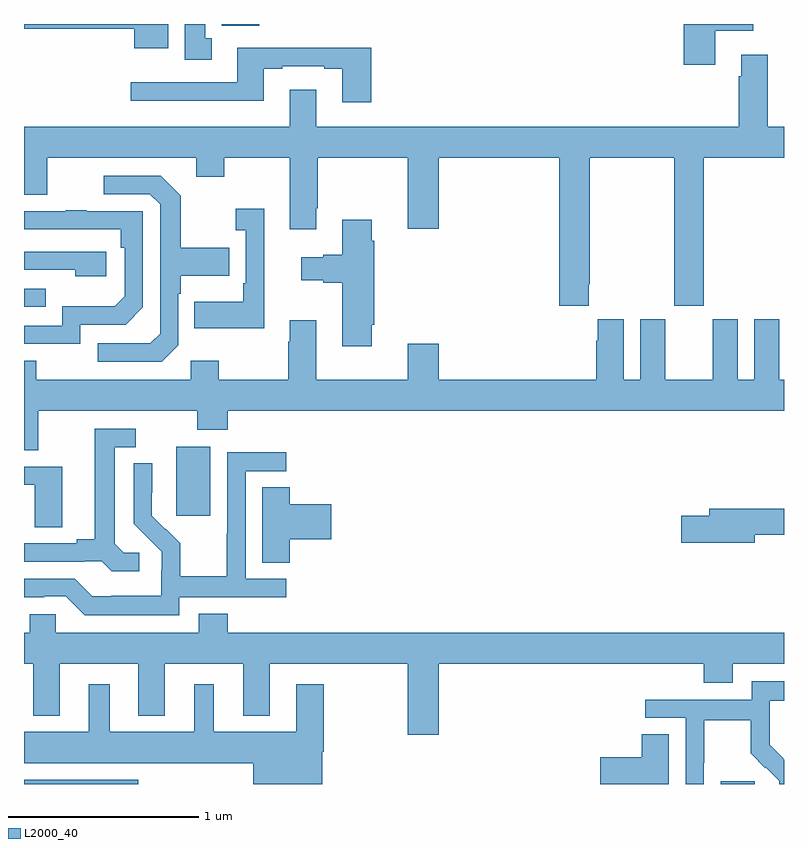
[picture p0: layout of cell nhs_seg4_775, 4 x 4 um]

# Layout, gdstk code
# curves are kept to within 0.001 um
import gdstk
lib = gdstk.Library(unit=1e-6, precision=1e-09)
def R(c, l, rs):  # rectangles x0, y0, x1, y1
    for r in rs: c.add(gdstk.rectangle(r[:2], r[2:], *l))
def P(c, l, *ps):  # polygons
    for p in ps: c.add(gdstk.Polygon(p, *l))
L2000_40 = (2000, 40)

nhs_seg4_775 = lib.new_cell('nhs_seg4_775')
R(nhs_seg4_775, L2000_40, [(151,750.9,151.6,750.922), (154.667,750.9,154.846,750.915), (151.802,752.313,151.981,752.674), (151,753.411,151.115,753.507), (152.042,754.892,152.239,754.9)])
P(nhs_seg4_775, L2000_40, [(154.639,754.865),(154.837,754.865),(154.837,754.9),(154.472,754.9),(154.472,754.686),(154.639,754.686)],
  [(151.759,754.9),(151,754.9),(151,754.876),(151.58,754.876),(151.58,754.772),(151.759,754.772)],
  [(151.987,754.826),(151.954,754.826),(151.954,754.9),(151.847,754.9),(151.847,754.713),(151.987,754.713)],
  [(152.828,754.774),(152.123,754.774),(152.123,754.593),(151.563,754.593),(151.563,754.496),(152.263,754.496),(152.263,754.665),(152.359,754.665),(152.359,754.677),(152.579,754.677),(152.579,754.665),(152.675,754.665),(152.675,754.488),(152.828,754.488)],
  [(153.973,753.529),(153.978,753.529),(153.978,754.196),(154.423,754.196),(154.423,753.417),(154.578,753.417),(154.578,754.196),(155,754.196),(155,754.36),(154.915,754.36),(154.915,754.738),(154.775,754.738),(154.775,754.625),(154.763,754.625),(154.763,754.36),(152.539,754.36),(152.539,754.555),(152.399,754.555),(152.399,754.36),(151,754.36),(151,754.002),(151.123,754.002),(151.123,754.196),(151.907,754.196),(151.907,754.097),(152.055,754.097),(152.055,754.196),(152.399,754.196),(152.399,753.819),(152.539,753.819),(152.539,753.931),(152.547,753.931),(152.547,754.196),(153.02,754.196),(153.02,753.822),(153.184,753.822),(153.184,754.196),(153.818,754.196),(153.818,753.417),(153.973,753.417)],
  [(151.812,753.21),(151.812,753.479),(151.825,753.479),(151.825,753.575),(152.081,753.575),(152.081,753.723),(151.825,753.723),(151.825,753.995),(151.719,754.101),(151.419,754.101),(151.419,754.005),(151.662,754.005),(151.716,753.951),(151.716,753.27),(151.665,753.219),(151.389,753.219),(151.389,753.123),(151.725,753.123)],
  [(152.264,753.928),(152.115,753.928),(152.115,753.815),(152.166,753.815),(152.166,753.535),(152.154,753.535),(152.154,753.439),(151.897,753.439),(151.897,753.299),(152.264,753.299)],
  [(151.296,753.318),(151.536,753.318),(151.626,753.408),(151.626,753.915),(151.331,753.915),(151.331,753.92),(151.219,753.92),(151.219,753.915),(151,753.915),(151,753.819),(151.51,753.819),(151.51,753.722),(151.53,753.722),(151.53,753.468),(151.477,753.415),(151.2,753.415),(151.2,753.312),(151,753.312),(151,753.216),(151.296,753.216)],
  [(152.83,753.316),(152.843,753.316),(152.843,753.758),(152.83,753.758),(152.83,753.871),(152.675,753.871),(152.675,753.686),(152.576,753.686),(152.576,753.673),(152.46,753.673),(152.46,753.551),(152.576,753.551),(152.576,753.539),(152.675,753.539),(152.675,753.204),(152.83,753.204)],
  [(151.432,753.702),(151,753.702),(151,753.606),(151.271,753.606),(151.271,753.572),(151.432,753.572)],
  [(151.075,752.864),(151.912,752.864),(151.912,752.765),(152.072,752.765),(152.072,752.864),(155,752.864),(155,753.028),(154.975,753.028),(154.975,753.346),(154.844,753.346),(154.844,753.028),(154.756,753.028),(154.756,753.346),(154.625,753.346),(154.625,753.028),(154.375,753.028),(154.375,753.346),(154.244,753.346),(154.244,753.028),(154.156,753.028),(154.156,753.346),(154.019,753.346),(154.019,753.233),(154.013,753.233),(154.013,753.028),(153.184,753.028),(153.184,753.217),(153.02,753.217),(153.02,753.028),(152.539,753.028),(152.539,753.34),(152.399,753.34),(152.399,753.227),(152.392,753.227),(152.392,753.028),(152.025,753.028),(152.025,753.127),(151.878,753.127),(151.878,753.028),(151.065,753.028),(151.065,753.127),(151,753.127),(151,752.656),(151.075,752.656)],
  [(151.606,752.118),(151.524,752.118),(151.477,752.165),(151.477,752.673),(151.588,752.673),(151.588,752.769),(151.373,752.769),(151.373,752.189),(151.277,752.189),(151.277,752.166),(151,752.166),(151,752.07),(151.316,752.07),(151.316,752.073),(151.41,752.073),(151.462,752.021),(151.606,752.021)],
  [(151.818,751.884),(152.38,751.884),(152.38,751.98),(152.166,751.98),(152.166,752.547),(152.38,752.547),(152.38,752.646),(152.07,752.646),(152.07,752.216),(152.068,752.216),(152.068,751.993),(151.823,751.993),(151.823,752.167),(151.746,752.244),(151.743,752.241),(151.673,752.312),(151.674,752.588),(151.578,752.588),(151.578,752.27),(151.724,752.122),(151.724,752.025),(151.722,752.025),(151.722,751.891),(151.459,751.891),(151.459,751.887),(151.359,751.887),(151.266,751.98),(151,751.98),(151,751.884),(151.106,751.884),(151.106,751.887),(151.221,751.887),(151.321,751.787),(151.818,751.787)],
  [(151.201,752.571),(151,752.571),(151,752.475),(151.056,752.475),(151.056,752.251),(151.201,752.251)],
  [(152.399,752.189),(152.617,752.189),(152.617,752.372),(152.399,752.372),(152.399,752.462),(152.255,752.462),(152.255,752.065),(152.399,752.065)],
  [(154.846,752.212),(155,752.212),(155,752.348),(154.607,752.348),(154.607,752.312),(154.458,752.312),(154.458,752.17),(154.846,752.17)],
  [(153.184,751.532),(154.577,751.532),(154.577,751.433),(154.729,751.433),(154.729,751.532),(155,751.532),(155,751.696),(152.072,751.696),(152.072,751.795),(151.919,751.795),(151.919,751.696),(151.167,751.696),(151.167,751.794),(151.029,751.794),(151.029,751.696),(151,751.696),(151,751.532),(151.049,751.532),(151.049,751.259),(151.189,751.259),(151.189,751.532),(151.601,751.532),(151.601,751.259),(151.741,751.259),(151.741,751.532),(152.153,751.532),(152.153,751.259),(152.293,751.259),(152.293,751.532),(153.02,751.532),(153.02,751.158),(153.184,751.158)],
  [(154.578,751.012),(154.581,751.012),(154.581,751.236),(154.825,751.236),(154.825,751.061),(154.902,750.984),(154.905,750.987),(154.976,750.917),(154.976,750.9),(155,750.9),(155,751.028),(154.997,751.031),(154.998,751.032),(154.924,751.106),(154.924,751.203),(154.926,751.203),(154.926,751.337),(155,751.337),(155,751.441),(154.83,751.441),(154.83,751.344),(154.269,751.344),(154.269,751.248),(154.482,751.248),(154.482,750.9),(154.578,750.9)],
  [(152.569,751.07),(152.577,751.07),(152.577,751.426),(152.432,751.426),(152.432,751.174),(151.999,751.174),(151.999,751.426),(151.895,751.426),(151.895,751.174),(151.45,751.174),(151.45,751.426),(151.34,751.426),(151.34,751.174),(151,751.174),(151,751.01),(152.207,751.01),(152.207,750.9),(152.569,750.9)],
  [(154.393,751.163),(154.25,751.163),(154.25,751.04),(154.032,751.04),(154.032,750.9),(154.393,750.9)])

lib.write_gds('nhs_seg4_775.gds')
